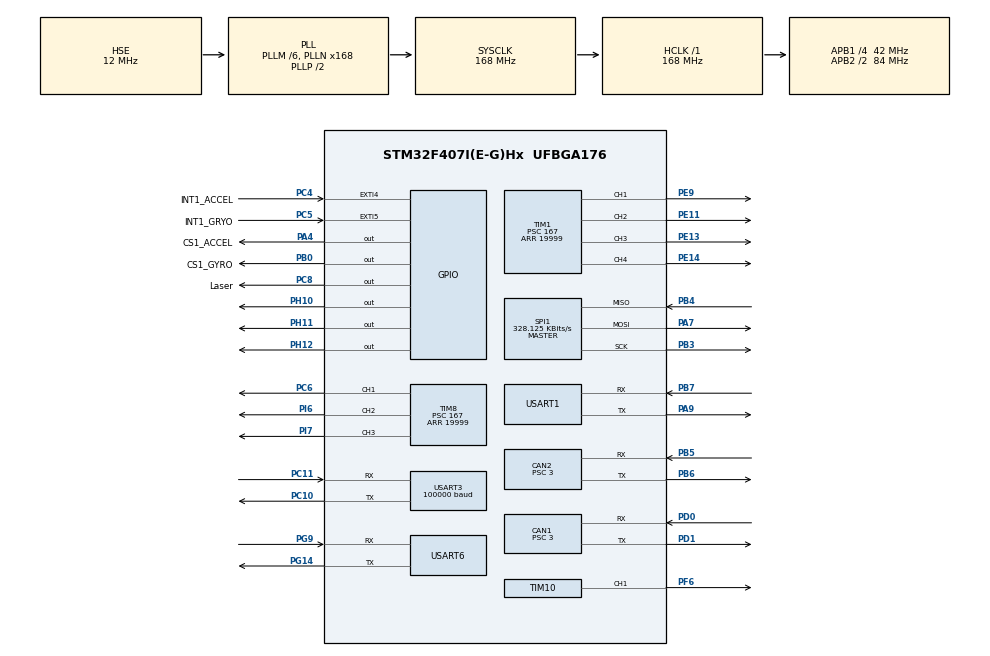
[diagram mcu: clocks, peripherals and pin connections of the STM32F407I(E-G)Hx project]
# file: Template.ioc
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CAN1.BS1=CAN_BS1_10TQ
CAN1.BS2=CAN_BS2_3TQ
CAN1.CalculateBaudRate=1000000
CAN1.CalculateTimeBit=1000
CAN1.CalculateTimeQuantum=71.42857142857143
CAN1.Prescaler=3
CAN2.BS1=CAN_BS1_10TQ
CAN2.BS2=CAN_BS2_3TQ
CAN2.CalculateBaudRate=1000000
CAN2.CalculateTimeBit=1000
CAN2.CalculateTimeQuantum=71.42857142857143
CAN2.Prescaler=3
Dma.Request0=SPI1_RX
Dma.Request1=SPI1_TX
Dma.Request2=USART6_RX
Dma.Request3=USART6_TX
Dma.Request4=USART3_RX
Dma.Request5=USART1_TX
Dma.Request6=USART1_RX
Dma.SPI1_RX.0.Direction=DMA_PERIPH_TO_MEMORY
Dma.SPI1_RX.0.FIFOMode=DMA_FIFOMODE_DISABLE
Dma.SPI1_RX.0.Instance=DMA2_Stream0
Dma.SPI1_RX.0.MemDataAlignment=DMA_MDATAALIGN_BYTE
Dma.SPI1_RX.0.MemInc=DMA_MINC_ENABLE
Dma.SPI1_RX.0.Mode=DMA_NORMAL
Dma.SPI1_RX.0.PeriphDataAlignment=DMA_PDATAALIGN_BYTE
Dma.SPI1_RX.0.PeriphInc=DMA_PINC_DISABLE
Dma.SPI1_RX.0.Priority=DMA_PRIORITY_VERY_HIGH
Dma.SPI1_TX.1.Direction=DMA_MEMORY_TO_PERIPH
Dma.SPI1_TX.1.FIFOMode=DMA_FIFOMODE_DISABLE
Dma.SPI1_TX.1.Instance=DMA2_Stream3
Dma.SPI1_TX.1.MemDataAlignment=DMA_MDATAALIGN_BYTE
Dma.SPI1_TX.1.MemInc=DMA_MINC_ENABLE
Dma.SPI1_TX.1.Mode=DMA_NORMAL
Dma.SPI1_TX.1.PeriphDataAlignment=DMA_PDATAALIGN_BYTE
Dma.SPI1_TX.1.PeriphInc=DMA_PINC_DISABLE
Dma.SPI1_TX.1.Priority=DMA_PRIORITY_HIGH
Dma.USART1_RX.6.Direction=DMA_PERIPH_TO_MEMORY
Dma.USART1_RX.6.FIFOMode=DMA_FIFOMODE_DISABLE
Dma.USART1_RX.6.Instance=DMA2_Stream2
Dma.USART1_RX.6.MemDataAlignment=DMA_MDATAALIGN_BYTE
Dma.USART1_RX.6.MemInc=DMA_MINC_ENABLE
Dma.USART1_RX.6.Mode=DMA_NORMAL
Dma.USART1_RX.6.PeriphDataAlignment=DMA_PDATAALIGN_BYTE
Dma.USART1_RX.6.PeriphInc=DMA_PINC_DISABLE
Dma.USART1_RX.6.Priority=DMA_PRIORITY_HIGH
Dma.USART1_TX.5.Direction=DMA_MEMORY_TO_PERIPH
Dma.USART1_TX.5.FIFOMode=DMA_FIFOMODE_DISABLE
Dma.USART1_TX.5.Instance=DMA2_Stream7
Dma.USART1_TX.5.MemDataAlignment=DMA_MDATAALIGN_BYTE
Dma.USART1_TX.5.MemInc=DMA_MINC_ENABLE
Dma.USART1_TX.5.Mode=DMA_NORMAL
Dma.USART1_TX.5.PeriphDataAlignment=DMA_PDATAALIGN_BYTE
Dma.USART1_TX.5.PeriphInc=DMA_PINC_DISABLE
Dma.USART1_TX.5.Priority=DMA_PRIORITY_HIGH
Dma.USART3_RX.4.Direction=DMA_PERIPH_TO_MEMORY
Dma.USART3_RX.4.FIFOMode=DMA_FIFOMODE_DISABLE
Dma.USART3_RX.4.Instance=DMA1_Stream1
Dma.USART3_RX.4.MemDataAlignment=DMA_MDATAALIGN_BYTE
Dma.USART3_RX.4.MemInc=DMA_MINC_ENABLE
Dma.USART3_RX.4.Mode=DMA_NORMAL
Dma.USART3_RX.4.PeriphDataAlignment=DMA_PDATAALIGN_BYTE
Dma.USART3_RX.4.PeriphInc=DMA_PINC_DISABLE
Dma.USART3_RX.4.Priority=DMA_PRIORITY_HIGH
Dma.USART6_RX.2.Direction=DMA_PERIPH_TO_MEMORY
Dma.USART6_RX.2.FIFOMode=DMA_FIFOMODE_DISABLE
Dma.USART6_RX.2.Instance=DMA2_Stream1
Dma.USART6_RX.2.MemDataAlignment=DMA_MDATAALIGN_BYTE
Dma.USART6_RX.2.MemInc=DMA_MINC_ENABLE
Dma.USART6_RX.2.Mode=DMA_NORMAL
Dma.USART6_RX.2.PeriphDataAlignment=DMA_PDATAALIGN_BYTE
Dma.USART6_RX.2.PeriphInc=DMA_PINC_DISABLE
Dma.USART6_RX.2.Priority=DMA_PRIORITY_HIGH
Dma.USART6_TX.3.Direction=DMA_MEMORY_TO_PERIPH
Dma.USART6_TX.3.FIFOMode=DMA_FIFOMODE_DISABLE
Dma.USART6_TX.3.Instance=DMA2_Stream6
Dma.USART6_TX.3.MemDataAlignment=DMA_MDATAALIGN_BYTE
Dma.USART6_TX.3.MemInc=DMA_MINC_ENABLE
Dma.USART6_TX.3.Mode=DMA_NORMAL
Dma.USART6_TX.3.PeriphDataAlignment=DMA_PDATAALIGN_BYTE
Dma.USART6_TX.3.PeriphInc=DMA_PINC_DISABLE
Dma.USART6_TX.3.Priority=DMA_PRIORITY_HIGH
FREERTOS.Tasks01=defaultTask,0,128,StartDefaultTask,Default,NULL,Dynamic,NULL,NULL
Mcu.Family=STM32F4
Mcu.Name=STM32F407I(E-G)Hx
Mcu.Package=UFBGA176
NVIC.CAN1_RX0_IRQn=true\:5\:0\:false\:false\:true\:true\:true\:true\:true
NVIC.CAN2_RX0_IRQn=true\:5\:0\:false\:false\:true\:true\:true\:true\:true
NVIC.DMA1_Stream1_IRQn=true\:5\:0\:false\:false\:true\:true\:false\:true\:true
NVIC.DMA2_Stream0_IRQn=true\:5\:0\:false\:false\:false\:true\:false\:true\:true
NVIC.DMA2_Stream1_IRQn=true\:5\:0\:false\:false\:true\:true\:false\:true\:true
NVIC.DMA2_Stream2_IRQn=true\:5\:0\:false\:false\:true\:true\:false\:true\:true
NVIC.DMA2_Stream3_IRQn=true\:5\:0\:false\:false\:true\:true\:false\:true\:true
NVIC.DMA2_Stream6_IRQn=true\:5\:0\:false\:false\:true\:true\:false\:true\:true
NVIC.DMA2_Stream7_IRQn=true\:5\:0\:false\:false\:true\:true\:false\:true\:true
NVIC.EXTI4_IRQn=true\:5\:0\:false\:false\:true\:true\:true\:true\:true
NVIC.EXTI9_5_IRQn=true\:5\:0\:false\:false\:true\:true\:true\:true\:true
NVIC.PriorityGroup=NVIC_PRIORITYGROUP_4
NVIC.TIM3_IRQn=true\:5\:0\:false\:false\:false\:true\:true\:true\:true
NVIC.TIM4_IRQn=true\:5\:0\:false\:false\:false\:true\:true\:true\:true
NVIC.TIM5_IRQn=true\:5\:0\:false\:false\:false\:true\:true\:true\:true
NVIC.TIM6_DAC_IRQn=true\:5\:0\:false\:false\:false\:true\:true\:true\:true
NVIC.TIM7_IRQn=true\:15\:0\:false\:false\:true\:false\:false\:true\:true
NVIC.TimeBase=TIM7_IRQn
NVIC.TimeBaseIP=TIM7
NVIC.USART1_IRQn=true\:5\:0\:false\:false\:false\:true\:true\:true\:true
NVIC.USART3_IRQn=true\:5\:0\:false\:false\:false\:true\:true\:true\:true
NVIC.USART6_IRQn=true\:5\:0\:false\:false\:false\:true\:true\:true\:true
PA13.Mode=Serial_Wire
PA13.Signal=SYS_JTMS-SWDIO
PA14.Mode=Serial_Wire
PA14.Signal=SYS_JTCK-SWCLK
PA4.GPIO_Label=CS1_ACCEL
PA4.Signal=GPIO_Output
PA7.Mode=Full_Duplex_Master
PA7.Signal=SPI1_MOSI
PA9.Mode=Asynchronous
PA9.Signal=USART1_TX
PB0.GPIO_Label=CS1_GYRO
PB0.Signal=GPIO_Output
PB3.Mode=Full_Duplex_Master
PB3.Signal=SPI1_SCK
PB4.Mode=Full_Duplex_Master
PB4.Signal=SPI1_MISO
PB5.Mode=CAN_Activate
PB5.Signal=CAN2_RX
PB6.Mode=CAN_Activate
PB6.Signal=CAN2_TX
PB7.Mode=Asynchronous
PB7.Signal=USART1_RX
PC10.Mode=Asynchronous
PC10.Signal=USART3_TX
PC11.Mode=Asynchronous
PC11.Signal=USART3_RX
PC4.GPIO_Label=INT1_ACCEL
PC4.Signal=GPXTI4
PC5.GPIO_Label=INT1_GRYO
PC5.Signal=GPXTI5
PC6.Signal=S_TIM8_CH1
PC8.GPIO_Label=Laser
PC8.Signal=GPIO_Output
PD0.Mode=CAN_Activate
PD0.Signal=CAN1_RX
PD1.Mode=CAN_Activate
PD1.Signal=CAN1_TX
PE11.Signal=S_TIM1_CH2
PE13.Signal=S_TIM1_CH3
PE14.Signal=S_TIM1_CH4
PE9.Signal=S_TIM1_CH1
PF6.Signal=S_TIM10_CH1
PG14.Mode=Asynchronous
PG14.Signal=USART6_TX
PG9.Mode=Asynchronous
PG9.Signal=USART6_RX
PH0-OSC_IN.Mode=HSE-External-Oscillator
PH0-OSC_IN.Signal=RCC_OSC_IN
PH1-OSC_OUT.Mode=HSE-External-Oscillator
PH1-OSC_OUT.Signal=RCC_OSC_OUT
PH10.Signal=GPIO_Output
PH11.Signal=GPIO_Output
PH12.Signal=GPIO_Output
PI6.Signal=S_TIM8_CH2
PI7.Signal=S_TIM8_CH3
ProjectManager.HeapSize=0x2000
ProjectManager.StackSize=0x2000
ProjectManager.TargetToolchain=MDK-ARM V5.32
RCC.48MHZClocksFreq_Value=84000000
RCC.AHBFreq_Value=168000000
RCC.APB1CLKDivider=RCC_HCLK_DIV4
RCC.APB1Freq_Value=42000000
RCC.APB1TimFreq_Value=84000000
RCC.APB2CLKDivider=RCC_HCLK_DIV2
RCC.APB2Freq_Value=84000000
RCC.APB2TimFreq_Value=168000000
RCC.CortexFreq_Value=168000000
RCC.HCLKFreq_Value=168000000
RCC.HSE_VALUE=12000000
RCC.HSI_VALUE=16000000
RCC.LSE_VALUE=32768
RCC.PLLM=6
RCC.PLLN=168
RCC.PLLSourceVirtual=RCC_PLLSOURCE_HSE
RCC.SYSCLKFreq_VALUE=168000000
RCC.SYSCLKSource=RCC_SYSCLKSOURCE_PLLCLK
RCC.VCOOutputFreq_Value=336000000
SH.S_TIM10_CH1.0=TIM10_CH1,PWM Generation1 CH1
SH.S_TIM1_CH1.0=TIM1_CH1,PWM Generation1 CH1
SH.S_TIM1_CH2.0=TIM1_CH2,PWM Generation2 CH2
SH.S_TIM1_CH3.0=TIM1_CH3,PWM Generation3 CH3
SH.S_TIM1_CH4.0=TIM1_CH4,PWM Generation4 CH4
SH.S_TIM8_CH1.0=TIM8_CH1,PWM Generation1 CH1
SH.S_TIM8_CH2.0=TIM8_CH2,PWM Generation2 CH2
SH.S_TIM8_CH3.0=TIM8_CH3,PWM Generation3 CH3
SPI1.BaudRatePrescaler=SPI_BAUDRATEPRESCALER_256
SPI1.CLKPhase=SPI_PHASE_2EDGE
SPI1.CLKPolarity=SPI_POLARITY_HIGH
SPI1.CalculateBaudRate=328.125 KBits/s
SPI1.Direction=SPI_DIRECTION_2LINES
SPI1.Mode=SPI_MODE_MASTER
SPI1.VirtualType=VM_MASTER
TIM1.Channel-PWM\ Generation1\ CH1=TIM_CHANNEL_1
TIM1.Channel-PWM\ Generation2\ CH2=TIM_CHANNEL_2
TIM1.Channel-PWM\ Generation3\ CH3=TIM_CHANNEL_3
TIM1.Channel-PWM\ Generation4\ CH4=TIM_CHANNEL_4
TIM1.Period=19999
TIM1.Prescaler=167
TIM1.Pulse-PWM\ Generation1\ CH1=1000
TIM1.Pulse-PWM\ Generation2\ CH2=1000
TIM1.Pulse-PWM\ Generation3\ CH3=1000
TIM1.Pulse-PWM\ Generation4\ CH4=1000
TIM10.Channel=TIM_CHANNEL_1
TIM10.Period=4999
TIM3.Period=999
TIM3.Prescaler=83
TIM4.Period=1999
TIM4.Prescaler=83
TIM5.Period=999
TIM5.Prescaler=83
TIM6.Period=9999
TIM6.Prescaler=83
TIM8.Channel-PWM\ Generation1\ CH1=TIM_CHANNEL_1
TIM8.Channel-PWM\ Generation2\ CH2=TIM_CHANNEL_2
TIM8.Channel-PWM\ Generation3\ CH3=TIM_CHANNEL_3
TIM8.Period=19999
TIM8.Prescaler=167
TIM8.Pulse-PWM\ Generation1\ CH1=1000
TIM8.Pulse-PWM\ Generation2\ CH2=1000
TIM8.Pulse-PWM\ Generation3\ CH3=1000
USART1.VirtualMode=VM_ASYNC
USART3.BaudRate=100000
USART3.Parity=PARITY_EVEN
USART3.VirtualMode=VM_ASYNC
USART6.VirtualMode=VM_ASYNC
VP_FREERTOS_VS_CMSIS_V1.Mode=CMSIS_V1
VP_SYS_VS_tim7.Mode=TIM7
VP_TIM10_VS_ClockSourceINT.Mode=Enable_Timer
VP_TIM1_VS_ClockSourceINT.Mode=Internal
VP_TIM3_VS_ClockSourceINT.Mode=Internal
VP_TIM4_VS_ClockSourceINT.Mode=Internal
VP_TIM5_VS_ClockSourceINT.Mode=Internal
VP_TIM6_VS_ClockSourceINT.Mode=Enable_Timer
VP_TIM8_VS_ClockSourceINT.Mode=Internal
board=custom

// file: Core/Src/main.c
/* USER CODE BEGIN Header */
/**
  ******************************************************************************
  * @file           : main.c
  * @brief          : Main program body
  ******************************************************************************
  * @attention
  *
  * Copyright (c) 2021 STMicroelectronics.
  * All rights reserved.
  *
  * This software is licensed under terms that can be found in the LICENSE file
  * in the root directory of this software component.
  * If no LICENSE file comes with this software, it is provided AS-IS.
  *
  ******************************************************************************
  */
/* USER CODE END Header */
#include "main.h"
#include "cmsis_os.h"
#include "can.h"
#include "dma.h"
#include "spi.h"
#include "tim.h"
#include "usart.h"
#include "gpio.h"

/* USER CODE BEGIN Includes */
#include "bsp_delay.h"
#include "bsp_can.h"
#include "Remote.h"
#include "Usart_HMI.h"
/* USER CODE END Includes */

void SystemClock_Config(void);
void MX_FREERTOS_Init(void);

int main(void)
{

  /* MCU Configuration--------------------------------------------------------*/

  /* Reset of all peripherals, Initializes the Flash interface and the Systick. */
  HAL_Init();

  /* Configure the system clock */
  SystemClock_Config();

  /* Initialize all configured peripherals */
  MX_GPIO_Init();
  MX_DMA_Init();
  MX_CAN1_Init();
  MX_SPI1_Init();
  MX_TIM5_Init();
  MX_TIM10_Init();
  MX_CAN2_Init();
  MX_USART1_UART_Init();
  MX_USART3_UART_Init();
  MX_USART6_UART_Init();
  MX_TIM3_Init();
  MX_TIM4_Init();
  MX_TIM1_Init();
  MX_TIM8_Init();
  MX_TIM6_Init();
  /* USER CODE BEGIN 2 */
  delay_init();
  remote_control_init();
  can_filter_init();
  Usart_HMI_init();

  HAL_TIM_Base_Start_IT(&htim3);
  HAL_Delay(1);
  HAL_TIM_Base_Start_IT(&htim4);
  HAL_Delay(1);
  HAL_TIM_Base_Start_IT(&htim6);

  HAL_TIM_PWM_Start(&htim10, TIM_CHANNEL_1);
  HAL_GPIO_WritePin(LED_R_GPIO_Port, LED_R_Pin, GPIO_PIN_RESET);
  HAL_GPIO_WritePin(LED_G_GPIO_Port, LED_G_Pin, GPIO_PIN_RESET);
  HAL_GPIO_WritePin(LED_B_GPIO_Port, LED_B_Pin, GPIO_PIN_RESET);
  HAL_GPIO_WritePin(Laser_GPIO_Port, Laser_Pin, GPIO_PIN_SET);
  /* USER CODE END 2 */

  /* Call init function for freertos objects (in freertos.c) */
  MX_FREERTOS_Init();

  /* Start scheduler */
  osKernelStart();

  /* We should never get here as control is now taken by the scheduler */
  /* Infinite loop */
  while (1)
  {

  }
}

void SystemClock_Config(void)
{
  RCC_OscInitTypeDef RCC_OscInitStruct = {0};
  RCC_ClkInitTypeDef RCC_ClkInitStruct = {0};

  /** Configure the main internal regulator output voltage
  */
  __HAL_RCC_PWR_CLK_ENABLE();
  __HAL_PWR_VOLTAGESCALING_CONFIG(PWR_REGULATOR_VOLTAGE_SCALE1);

  /** Initializes the RCC Oscillators according to the specified parameters
  * in the RCC_OscInitTypeDef structure.
  */
  RCC_OscInitStruct.OscillatorType = RCC_OSCILLATORTYPE_HSE;
  RCC_OscInitStruct.HSEState = RCC_HSE_ON;
  RCC_OscInitStruct.PLL.PLLState = RCC_PLL_ON;
  RCC_OscInitStruct.PLL.PLLSource = RCC_PLLSOURCE_HSE;
  RCC_OscInitStruct.PLL.PLLM = 6;
  RCC_OscInitStruct.PLL.PLLN = 168;
  RCC_OscInitStruct.PLL.PLLP = RCC_PLLP_DIV2;
  RCC_OscInitStruct.PLL.PLLQ = 4;
  if (HAL_RCC_OscConfig(&RCC_OscInitStruct) != HAL_OK)
  {
    Error_Handler();
  }

  /** Initializes the CPU, AHB and APB buses clocks
  */
  RCC_ClkInitStruct.ClockType = RCC_CLOCKTYPE_HCLK|RCC_CLOCKTYPE_SYSCLK
                              |RCC_CLOCKTYPE_PCLK1|RCC_CLOCKTYPE_PCLK2;
  RCC_ClkInitStruct.SYSCLKSource = RCC_SYSCLKSOURCE_PLLCLK;
  RCC_ClkInitStruct.AHBCLKDivider = RCC_SYSCLK_DIV1;
  RCC_ClkInitStruct.APB1CLKDivider = RCC_HCLK_DIV4;
  RCC_ClkInitStruct.APB2CLKDivider = RCC_HCLK_DIV2;

  if (HAL_RCC_ClockConfig(&RCC_ClkInitStruct, FLASH_LATENCY_5) != HAL_OK)
  {
    Error_Handler();
  }
}

void HAL_TIM_PeriodElapsedCallback(TIM_HandleTypeDef *htim)
{
  if (htim->Instance == TIM7) {
    HAL_IncTick();
  }
}

void Error_Handler(void)
{
  __disable_irq();
  while (1)
  {
  }
}
